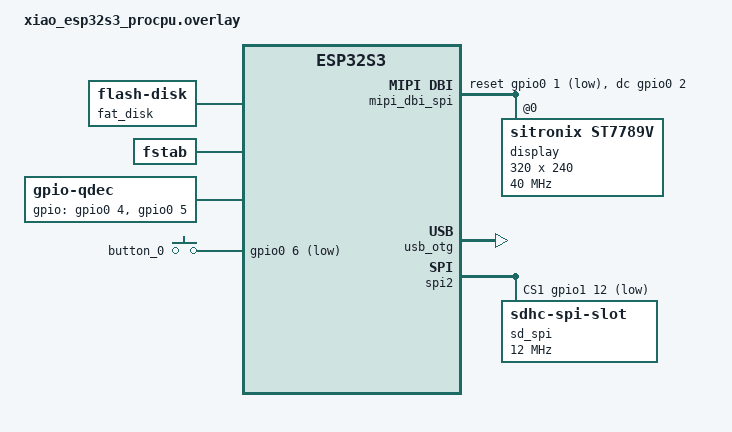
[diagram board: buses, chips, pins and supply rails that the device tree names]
/*
 * SPDX-License-Identifier: GPL-3.0-or-later
 *
 * The peripherals as in cyber-murmel/mp-lvgl-example (app/boards/xiao_esp32s3_procpu.overlay):
 * an SD card and an ST7789V display sharing SPI2, plus the internal FAT volume "FLASH".
 */

#include <zephyr/dt-bindings/display/panel.h>
#include <zephyr/dt-bindings/gpio/gpio.h>
#include <zephyr/dt-bindings/input/input-event-codes.h>

/ {
	chosen {
		zephyr,console = &cdc_acm_uart0;
		zephyr,shell-uart = &cdc_acm_uart0;
		zephyr,display = &display;
	};

	/* The scripts' volume, block device "FLASH" (as in apps/multiapp). */
	fat_disk: fat_disk {
		compatible = "zephyr,flash-disk";
		partition = <&fat_partition>;
		disk-name = "FLASH";
		cache-size = <4096>;
	};

	/*
	 * Mounted by _boot.py (zephyr.FileSystem): /FLASH: always, /SD: if a card mounts. FLASH
	 * is formatted on first use.
	 */
	fstab {
		compatible = "zephyr,fstab";

		sd_fs: sd_fs {
			compatible = "zephyr,fstab,fatfs";
			mount-point = "/SD:";
			disk-access;
			/* Never formatted: usb_disks.c sets FS_MOUNT_FLAG_NO_FORMAT (fat_fs.c refuses the
			 * property while FLASH is formatted on mount). */
		};

		flash_fs: flash_fs {
			compatible = "zephyr,fstab,fatfs";
			mount-point = "/FLASH:";
			disk-access;
		};
	};

	/* Rotary encoder (D3, D4) and its switch (D5), as in mp-lvgl-example. */
	qdec {
		compatible = "gpio-qdec";
		gpios = <&gpio0 4 (GPIO_PULL_UP | GPIO_ACTIVE_HIGH)>,
			<&gpio0 5 (GPIO_PULL_UP | GPIO_ACTIVE_HIGH)>;
		steps-per-period = <4>;
		zephyr,axis = <INPUT_REL_WHEEL>;
		sample-time-us = <2000>;
		idle-timeout-ms = <200>;
	};

	buttons {
		compatible = "gpio-keys";

		button_0 {
			gpios = <&gpio0 6 (GPIO_PULL_UP | GPIO_ACTIVE_LOW)>;
			zephyr,code = <INPUT_KEY_0>;
		};
	};

	/* The encoder and its switch as LVGL's encoder input device (lv.INDEV_TYPE.ENCODER). */
	lvgl_encoder {
		compatible = "zephyr,lvgl-encoder-input";
		rotation-input-code = <INPUT_REL_WHEEL>;
		button-input-code = <INPUT_KEY_0>;
	};

	/* ST7789V 320x240: CS D2, D/C D1, reset D0. */
	mipi_dbi_spi {
		compatible = "zephyr,mipi-dbi-spi";
		spi-dev = <&spi2>;
		dc-gpios = <&gpio0 2 GPIO_ACTIVE_HIGH>;
		reset-gpios = <&gpio0 1 GPIO_ACTIVE_LOW>;
		#address-cells = <1>;
		#size-cells = <0>;

		display: st7789v@0 {
			compatible = "sitronix,st7789v";
			reg = <0>;
			/* Through the GPIO matrix (writes only): 40 MHz at most. */
			mipi-max-frequency = <DT_FREQ_M(40)>;
			mipi-mode = "MIPI_DBI_MODE_SPI_4WIRE";
			width = <320>;
			height = <240>;
			x-offset = <0>;
			y-offset = <0>;
			vcom = <0x20>;
			gctrl = <0x35>;
			mdac = <0xA0>; /* RGB order, swap XY, mirror Y */
			lcm = <0x2c>;
			pixel-format = <PANEL_PIXEL_FORMAT_RGB_565>;
			gamma = <0x01>;
			porch-param = [0c 0c 00 33 33];
			cmd2en-param = [5a 69 02 01];
			pwctrl1-param = [a4 a1];
			pvgam-param = [d0 00 02 07 0a 28 32 44 42 06 0e 12 14 17];
			nvgam-param = [d0 00 02 07 0a 28 31 54 47 0e 1c 17 1b 1e];
			ram-param = [00 f0];
			rgb-param = [40 02 14];
		};
	};
};

zephyr_udc0: &usb_otg {
	status = "okay";

	/* The REPL's console while OTG owns the USB port. */
	cdc_acm_uart0: cdc_acm_uart0 {
		compatible = "zephyr,cdc-acm-uart";
		label = "ESP-SDR MicroPython REPL";
	};
};

/* 1792 KiB slots and the FAT volume in the upper 4 MB. */
#include "xiao_esp32s3_partitions.dtsi"

/*
 * SPI2 (SCK D8, MISO D9, MOSI D10), shared by the display (CS 0) and the SD card (CS 1). No
 * DMA: the Python heap, which FatFs hands its buffers from, is PSRAM. SD at 12 MHz: these pins
 * reach SPI2 through the GPIO matrix, whose input delay plus the card's output delay (up to
 * 14 ns) must fit half a clock period; the driver does not shift the sampling (input_delay_ns
 * 0), and SD over SPI is full duplex (no dummy compensation).
 */
&spi2 {
	status = "okay";
	cs-gpios = <&gpio0 3 GPIO_ACTIVE_LOW>, <&gpio1 12 (GPIO_PULL_UP | GPIO_ACTIVE_LOW)>;

	sd_spi: sdhc@1 {
		compatible = "zephyr,sdhc-spi-slot";
		reg = <1>;
		status = "okay";
		spi-max-frequency = <12000000>;

		mmc {
			compatible = "zephyr,sdmmc-disk";
			disk-name = "SD";
			status = "okay";
		};
	};
};

/* GPIO44 is UART0's RX pin; the console is CDC-ACM. */
&uart0 {
	status = "disabled";
};
